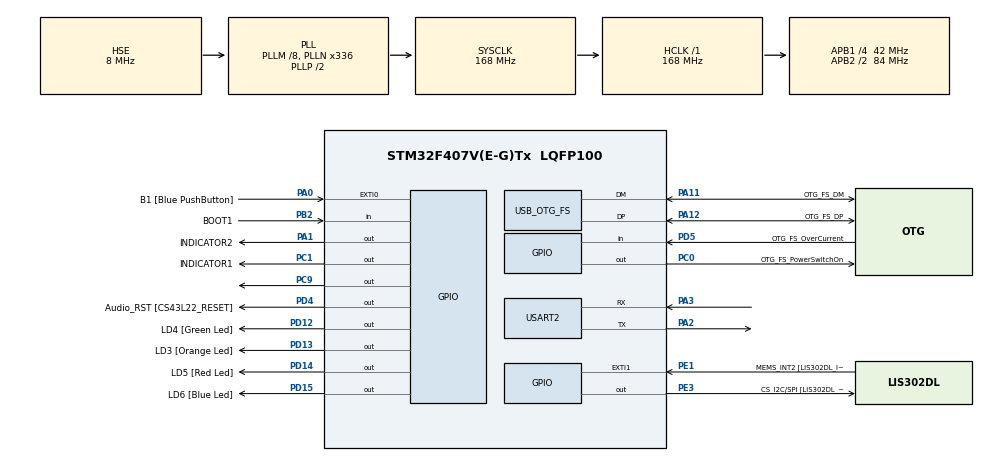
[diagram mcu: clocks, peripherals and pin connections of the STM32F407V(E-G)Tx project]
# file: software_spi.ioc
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Dma.Request0=USART2_RX
Dma.USART2_RX.0.Direction=DMA_PERIPH_TO_MEMORY
Dma.USART2_RX.0.FIFOMode=DMA_FIFOMODE_DISABLE
Dma.USART2_RX.0.Instance=DMA1_Stream5
Dma.USART2_RX.0.MemDataAlignment=DMA_MDATAALIGN_BYTE
Dma.USART2_RX.0.MemInc=DMA_MINC_ENABLE
Dma.USART2_RX.0.Mode=DMA_CIRCULAR
Dma.USART2_RX.0.PeriphDataAlignment=DMA_PDATAALIGN_BYTE
Dma.USART2_RX.0.PeriphInc=DMA_PINC_DISABLE
Dma.USART2_RX.0.Priority=DMA_PRIORITY_LOW
Mcu.Family=STM32F4
Mcu.Name=STM32F407V(E-G)Tx
Mcu.Package=LQFP100
NVIC.DMA1_Stream5_IRQn=true\:0\:0\:false\:false\:true\:false\:true\:true
NVIC.OTG_FS_IRQn=true\:0\:0\:false\:false\:true\:false\:true\:true
NVIC.PriorityGroup=NVIC_PRIORITYGROUP_0
NVIC.USART2_IRQn=true\:0\:0\:false\:false\:true\:true\:true\:true
PA0-WKUP.GPIO_Label=B1 [Blue PushButton]
PA0-WKUP.GPIO_ModeDefaultEXTI=GPIO_MODE_EVT_RISING
PA0-WKUP.GPIO_PuPd=GPIO_NOPULL
PA0-WKUP.Signal=GPXTI0
PA1.GPIO_Label=INDICATOR2
PA1.GPIO_PuPd=GPIO_PULLDOWN
PA1.GPIO_Speed=GPIO_SPEED_FREQ_VERY_HIGH
PA1.Signal=GPIO_Output
PA10.GPIO_Label=OTG_FS_ID
PA10.GPIO_Mode=GPIO_MODE_AF_PP
PA10.GPIO_PuPd=GPIO_NOPULL
PA10.GPIO_Speed=GPIO_SPEED_FREQ_LOW
PA10.Signal=USB_OTG_FS_ID
PA11.GPIO_Label=OTG_FS_DM
PA11.GPIO_Mode=GPIO_MODE_AF_PP
PA11.GPIO_PuPd=GPIO_NOPULL
PA11.GPIO_Speed=GPIO_SPEED_FREQ_LOW
PA11.Mode=Device_Only
PA11.Signal=USB_OTG_FS_DM
PA12.GPIO_Label=OTG_FS_DP
PA12.GPIO_Mode=GPIO_MODE_AF_PP
PA12.GPIO_PuPd=GPIO_NOPULL
PA12.GPIO_Speed=GPIO_SPEED_FREQ_LOW
PA12.Mode=Device_Only
PA12.Signal=USB_OTG_FS_DP
PA13.GPIO_Label=SWDIO
PA13.Mode=Serial_Wire
PA13.Signal=SYS_JTMS-SWDIO
PA14.GPIO_Label=SWCLK
PA14.Mode=Serial_Wire
PA14.Signal=SYS_JTCK-SWCLK
PA2.Mode=Asynchronous
PA2.Signal=USART2_TX
PA3.Mode=Asynchronous
PA3.Signal=USART2_RX
PA4.GPIO_Label=I2S3_WS [CS43L22_LRCK]
PA4.GPIO_Mode=GPIO_MODE_AF_PP
PA4.GPIO_PuPd=GPIO_NOPULL
PA4.GPIO_Speed=GPIO_SPEED_FREQ_LOW
PA4.Signal=I2S3_WS
PA5.GPIO_Label=SPI1_SCK [LIS302DL_SCL/SPC]
PA5.GPIO_Mode=GPIO_MODE_AF_PP
PA5.GPIO_PuPd=GPIO_NOPULL
PA5.GPIO_Speed=GPIO_SPEED_FREQ_LOW
PA5.Signal=SPI1_SCK
PA6.GPIO_Label=SPI1_MISO [LIS302DL_SDO]
PA6.GPIO_Mode=GPIO_MODE_AF_PP
PA6.GPIO_PuPd=GPIO_NOPULL
PA6.GPIO_Speed=GPIO_SPEED_FREQ_LOW
PA6.Signal=SPI1_MISO
PA7.GPIO_Label=SPI1_MOSI [LIS302DL_SDA/SDI/SDO]
PA7.GPIO_Mode=GPIO_MODE_AF_PP
PA7.GPIO_PuPd=GPIO_NOPULL
PA7.GPIO_Speed=GPIO_SPEED_FREQ_LOW
PA7.Signal=SPI1_MOSI
PA9.GPIO_Label=VBUS_FS
PA9.GPIO_Mode=GPIO_MODE_INPUT
PA9.GPIO_PuPd=GPIO_NOPULL
PA9.Signal=USB_OTG_FS_VBUS
PB10.GPIO_Label=CLK_IN [MP45DT02_CLK]
PB10.GPIO_Mode=GPIO_MODE_AF_PP
PB10.GPIO_PuPd=GPIO_NOPULL
PB10.GPIO_Speed=GPIO_SPEED_FREQ_LOW
PB10.Signal=I2S2_CK
PB2.GPIO_Label=BOOT1
PB2.GPIO_Mode=GPIO_MODE_INPUT
PB2.GPIO_PuPd=GPIO_NOPULL
PB2.Signal=GPIO_Input
PB3.GPIO_Label=SWO
PB3.Signal=SYS_JTDO-SWO
PB6.GPIO_Label=Audio_SCL [CS43L22_SCL]
PB6.GPIO_Mode=GPIO_MODE_AF_OD
PB6.GPIO_Pu=GPIO_PULLUP
PB6.GPIO_PuPd=GPIO_NOPULL
PB6.GPIO_Speed=GPIO_SPEED_FREQ_LOW
PB6.Signal=I2C1_SCL
PB9.GPIO_Label=Audio_SDA [CS43L22_SDA]
PB9.GPIO_Mode=GPIO_MODE_AF_OD
PB9.GPIO_Pu=GPIO_PULLUP
PB9.GPIO_PuPd=GPIO_NOPULL
PB9.GPIO_Speed=GPIO_SPEED_FREQ_LOW
PB9.Signal=I2C1_SDA
PC0.GPIO_Label=OTG_FS_PowerSwitchOn
PC0.GPIO_PuPd=GPIO_NOPULL
PC0.GPIO_Speed=GPIO_SPEED_FREQ_LOW
PC0.PinState=GPIO_PIN_SET
PC0.Signal=GPIO_Output
PC1.GPIO_Label=INDICATOR1
PC1.GPIO_PuPd=GPIO_PULLDOWN
PC1.GPIO_Speed=GPIO_SPEED_FREQ_HIGH
PC1.Signal=GPIO_Output
PC10.GPIO_Label=I2S3_SCK [CS43L22_SCLK]
PC10.GPIO_Mode=GPIO_MODE_AF_PP
PC10.GPIO_PuPd=GPIO_NOPULL
PC10.GPIO_Speed=GPIO_SPEED_FREQ_LOW
PC10.Signal=I2S3_CK
PC12.GPIO_Label=I2S3_SD [CS43L22_SDIN]
PC12.GPIO_Mode=GPIO_MODE_AF_PP
PC12.GPIO_PuPd=GPIO_NOPULL
PC12.GPIO_Speed=GPIO_SPEED_FREQ_LOW
PC12.Signal=I2S3_SD
PC14-OSC32_IN.GPIO_Label=PC14-OSC32_IN
PC14-OSC32_IN.Signal=RCC_OSC32_IN
PC15-OSC32_OUT.GPIO_Label=PC15-OSC32_OUT
PC15-OSC32_OUT.Signal=RCC_OSC32_OUT
PC3.GPIO_Label=PDM_OUT [MP45DT02_DOUT]
PC3.GPIO_Mode=GPIO_MODE_AF_PP
PC3.GPIO_PuPd=GPIO_NOPULL
PC3.GPIO_Speed=GPIO_SPEED_FREQ_LOW
PC3.Signal=I2S2_SD
PC7.GPIO_Label=I2S3_MCK [CS43L22_MCLK]
PC7.GPIO_Mode=GPIO_MODE_AF_PP
PC7.GPIO_PuPd=GPIO_NOPULL
PC7.GPIO_Speed=GPIO_SPEED_FREQ_LOW
PC7.Signal=I2S3_MCK
PC9.GPIO_Speed=GPIO_SPEED_FREQ_VERY_HIGH
PC9.Signal=GPIO_Output
PD12.GPIO_Label=LD4 [Green Led]
PD12.GPIO_PuPd=GPIO_NOPULL
PD12.GPIO_Speed=GPIO_SPEED_FREQ_LOW
PD12.Signal=GPIO_Output
PD13.GPIO_Label=LD3 [Orange Led]
PD13.GPIO_PuPd=GPIO_NOPULL
PD13.GPIO_Speed=GPIO_SPEED_FREQ_LOW
PD13.Signal=GPIO_Output
PD14.GPIO_Label=LD5 [Red Led]
PD14.GPIO_PuPd=GPIO_NOPULL
PD14.GPIO_Speed=GPIO_SPEED_FREQ_LOW
PD14.Signal=GPIO_Output
PD15.GPIO_Label=LD6 [Blue Led]
PD15.GPIO_PuPd=GPIO_NOPULL
PD15.GPIO_Speed=GPIO_SPEED_FREQ_LOW
PD15.Signal=GPIO_Output
PD4.GPIO_Label=Audio_RST [CS43L22_RESET]
PD4.GPIO_PuPd=GPIO_NOPULL
PD4.GPIO_Speed=GPIO_SPEED_FREQ_LOW
PD4.Signal=GPIO_Output
PD5.GPIO_Label=OTG_FS_OverCurrent
PD5.GPIO_Mode=GPIO_MODE_INPUT
PD5.GPIO_PuPd=GPIO_NOPULL
PD5.Signal=GPIO_Input
PE1.GPIO_Label=MEMS_INT2 [LIS302DL_INT2]
PE1.GPIO_ModeDefaultEXTI=GPIO_MODE_EVT_RISING
PE1.GPIO_PuPd=GPIO_NOPULL
PE1.Signal=GPXTI1
PE3.GPIO_Label=CS_I2C/SPI [LIS302DL_CS_I2C/SPI]
PE3.GPIO_PuPd=GPIO_NOPULL
PE3.GPIO_Speed=GPIO_SPEED_FREQ_LOW
PE3.Signal=GPIO_Output
PH0-OSC_IN.Mode=HSE-External-Oscillator
PH0-OSC_IN.Signal=RCC_OSC_IN
PH1-OSC_OUT.Mode=HSE-External-Oscillator
PH1-OSC_OUT.Signal=RCC_OSC_OUT
ProjectManager.HeapSize=0x200
ProjectManager.StackSize=0x400
ProjectManager.TargetToolchain=STM32CubeIDE
RCC.48MHZClocksFreq_Value=48000000
RCC.AHBFreq_Value=168000000
RCC.APB1CLKDivider=RCC_HCLK_DIV4
RCC.APB1Freq_Value=42000000
RCC.APB1TimFreq_Value=84000000
RCC.APB2CLKDivider=RCC_HCLK_DIV2
RCC.APB2Freq_Value=84000000
RCC.APB2TimFreq_Value=168000000
RCC.CortexFreq_Value=168000000
RCC.HCLKFreq_Value=168000000
RCC.HSE_VALUE=8000000
RCC.HSI_VALUE=16000000
RCC.LSE_VALUE=32768
RCC.PLLM=8
RCC.PLLN=336
RCC.PLLQ=7
RCC.SYSCLKFreq_VALUE=168000000
RCC.SYSCLKSource=RCC_SYSCLKSOURCE_PLLCLK
RCC.VCOOutputFreq_Value=336000000
TIM1.Period=10
TIM1.Prescaler=168-1
TIM2.Period=0xffffffff-1
TIM2.Prescaler=84-1
USART2.VirtualMode=VM_ASYNC
USB_DEVICE.CLASS_NAME_FS=CDC
USB_DEVICE.VirtualMode-CDC_FS=Cdc
USB_DEVICE.VirtualModeFS=Cdc_FS
USB_OTG_FS.VirtualMode=Device_Only
VP_TIM1_VS_ClockSourceINT.Mode=Internal
VP_TIM2_VS_ClockSourceINT.Mode=Internal
VP_USB_DEVICE_VS_USB_DEVICE_CDC_FS.Mode=CDC_FS
board=STM32F407G-DISC1

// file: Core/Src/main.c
/* USER CODE BEGIN Header */
/**
  ******************************************************************************
  * @file           : main.c
  * @brief          : Main program body
  ******************************************************************************
  * @attention
  *
  * Copyright (c) 2024 STMicroelectronics.
  * All rights reserved.
  *
  * This software is licensed under terms that can be found in the LICENSE file
  * in the root directory of this software component.
  * If no LICENSE file comes with this software, it is provided AS-IS.
  *
  ******************************************************************************
  */
/* USER CODE END Header */
#include "main.h"
#include "dma.h"
#include "tim.h"
#include "usart.h"
#include "usb_device.h"
#include "gpio.h"

/* USER CODE BEGIN Includes */
#include <stdio.h>
#include <stdbool.h>
#include <assert.h>

#include "../../soft_spi/soft_spi.h"
#include "../../test_spi/spi_test.h"
#include "../../uart_cmd/uart_app.h"
#include "../../uart_cmd/cmd.h"
/* USER CODE END Includes */

/* USER CODE BEGIN PD */
#define LOG_MSG_CDC		  	  0
#define LOG_MSG_ITM 		    1
#define MAIN_DBG_MSG_EN   	1

#if (MAIN_DBG_MSG_EN != 0)
#define PRINTF_MAIN(...)  printf(__VA_ARGS__)
#else
#define PRINTF_MAIN(...)  (void)0
#endif /* End of (MAIN_DBG_MSG_EN != 0) */

/* Override low-level _write system call */
#if(LOG_MSG_CDC == 1)
#include "usbd_cdc_if.h"
int _write(int file, char *ptr, int len){
    CDC_Transmit_FS((uint8_t*)ptr, len);
    return len;
}
#elif (LOG_MSG_ITM == 1)
int _write(int file, char *ptr, int len) {
    int DataIdx;
    for (DataIdx = 0; DataIdx < len; DataIdx++) {
        ITM_SendChar(*ptr++);
    }
    return len;
}
#else
#endif

/* USER CODE END PD */

/* USER CODE BEGIN PV */
uint16_t frame_recv_size;
uint8_t frame_received_buf[UART_RX_DMABUFFER_SIZE];
uint8_t frame_resp_buf[UART_RX_DMABUFFER_SIZE];
/* USER CODE END PV */

void SystemClock_Config(void);

/* USER CODE BEGIN 0 */

/* Delay us using TIM1 */
void delay_ns(uint32_t ns)
{
  // Calculate the number of ticks to wait based on the input delay in ns
  uint32_t tick_2wait = (ns * (TIM1_SRC_CLK / (TIM1_PRES * 1000000))) / 1000;
  if(tick_2wait < 1)
  {
      PRINTF_MAIN("Error: delay_ns too short\n");
      tick_2wait = 1;
  }
  __HAL_TIM_SET_COUNTER(&htim1, 0);
  while (__HAL_TIM_GET_COUNTER(&htim1) < tick_2wait);
}

void delay_us(uint32_t us)
{
    delay_ns(us * 1000);
}
uint32_t TIM2_GetTick_us(){
	return __HAL_TIM_GET_COUNTER(&htim2);
}
/**
 * @brief Reverse the bit pattern of a given input data
 * @param data_input: The input data to reverse
 * @param data_bit_width: actual data bit width of data_input since data_input not always 32-bit width
 * @return uint32_t: The reversed bit pattern of the input data
 */
uint32_t reverse_bit(uint32_t data_input, uint8_t data_bit_width)
{
    uint32_t data_output = 0;
    for (uint8_t i = 0; i < data_bit_width; i++)
    {
        data_output |= ((data_input >> i) & 0x1) << (data_bit_width - 1 - i);
    }
    return data_output;
}

    // Returns 0 for a 32-bit input with a bit width of 0
void test_reverse_bit_32bit_width_0() {
    // Arrange
    uint32_t input = 0xFFFFFFFF;
    uint8_t bit_width = 0;
    uint32_t expected_output = 0;

    // Act
    uint32_t result = reverse_bit(input, bit_width);

    // Assert
    assert(result == expected_output);
}

void leds_err_signal(void)
{
  HAL_GPIO_TogglePin(GPIOD, LD3_Pin| LD4_Pin | LD5_Pin | LD6_Pin);
  HAL_Delay(500);
}

/* USER CODE END 0 */

int main(void)
{

  /* MCU Configuration--------------------------------------------------------*/

  /* Reset of all peripherals, Initializes the Flash interface and the Systick. */
  HAL_Init();

  /* Configure the system clock */
  SystemClock_Config();

  /* Initialize all configured peripherals */
  MX_GPIO_Init();
  MX_DMA_Init();
  MX_TIM1_Init();
  MX_USART2_UART_Init();
  MX_USB_DEVICE_Init();
  MX_TIM2_Init();
  /* USER CODE BEGIN 2 */
#if (LOG_MSG_CDC != 0)
  MX_USB_DEVICE_Init();
  while(!CDC_IsPortOpen());
#endif /* End of (LOG_MSG_CDC != 0) */
  // SPI IO init
  spi_io_init();
  // SPI timer init
  if(spi_timer_init())
  {
	  PRINTF_MAIN("[ERR] Failed to init TIM1 \n");
  }

  HAL_TIM_Base_Start(&htim1);
	HAL_TIM_Base_Start(&htim2);

	PRINTF_MAIN("[INFO] TEST START!\n");

  /* USER CODE END 2 */

  /* Infinite loop */
  /* USER CODE BEGIN WHILE */

  // Test internal SPI
	// SPI_SRC_INTERNAL();

  SPI_SRC_EXTERNAL();

	if (uart_app_init()) {
    PRINTF_MAIN("[ERR] Failed to start UART\n");
  }

#if (SPI_MASTER_TEST != 0)

	spi_test_reg_t spi_read_reg = {
			.reg_addr_size = 10,
			.reg_val_size = 8,
			.reg_addr = 0x3,
			.reg_val = 0x1B
	};

	uint8_t slave_addr = SPI_QEC_RX1_SLAVE_ADDR;
	spi_write_slave(slave_addr, (spi_test_reg_t*) &spi_read_reg, 1);
	HAL_Delay(1);

	if (0 != spi_read_slave(slave_addr, (spi_test_reg_t*) &spi_read_reg, 1))
	{
		printf("\r\n [ERR] spi_test_slave failed to read slave \r\n");
	}
	printf(
			"Read from slave addr: %d, reg addr: 0x%X, val: 0x%X, reg addr width: %d, reg val width: %d\n",
			slave_addr, (unsigned int) spi_read_reg.reg_addr,
			(unsigned int) spi_read_reg.reg_val,
			spi_read_reg.reg_addr_size, spi_read_reg.reg_val_size);

	spi_read_reg = (spi_test_reg_t ) {
					.reg_addr_size = 10,
					.reg_val_size = 8,
					.reg_addr = 421,
					.reg_val = 0b00010000
			};
	spi_write_slave(slave_addr, (spi_test_reg_t*) &spi_read_reg, 1);
	HAL_Delay(1);

	slave_addr = SPI_FIR_ORX2_SLAVE_ADDR;
	if (0 != spi_read_slave(slave_addr, (spi_test_reg_t*) &spi_read_reg, 1))
	{
		printf("\r\n [ERR] spi_test_slave failed to read slave \r\n");
	}
	printf(
			"Read from slave addr: %d, reg addr: 0x%X, val: 0x%X, reg addr width: %d, reg val width: %d\n",
			slave_addr, (unsigned int) spi_read_reg.reg_addr,
			(unsigned int) spi_read_reg.reg_val,
			spi_read_reg.reg_addr_size, spi_read_reg.reg_val_size);

	spi_master_test();
#endif

#if (LINH_QEC_TEST != 0)
  printf("\n================== Starting QEC Test ======================\n");
  for(uint8_t retry=0; retry<5; retry++)
  {
      printf("Current iteration: %d\n", retry);
      printf("==================================================================\n");
      printf("Writing to SPI slaves...\n");
      uint8_t test_slaves[]= {SPI_QEC_RX1_SLAVE_ADDR, SPI_QEC_RX2_SLAVE_ADDR, SPI_QEC_ORX1_SLAVE_ADDR, SPI_QEC_ORX2_SLAVE_ADDR};
      for(uint8_t idx=0; idx<sizeof(test_slaves); idx++)
      {
      if (qec_test(test_slaves[idx]))
      {
        PRINTF_MAIN("[ERR] Failed to config SPI slave\n");
      }
      }
      printf("==================================================================\n");
      HAL_Delay(1000);
  }
  printf("==================================================================\n");
#endif /* End of (LINH_QEC_TEST != 0) */

#if (HUNG_ADC_TEST != 0)
  adc_test();
#endif /* End of (HUNG_ADC_TEST != 0) */

  while (1) {

#if (SANG_TEST == 1)
    // Use SPI master
		spi_master_cfg();
#endif

#if (SPI_SLAVE_TEST_EN == 1)
    while(1)
    {
      HAL_Delay(1000);
      spi_master_test();
    }
#endif /* End of (SPI_SLAVE_TEST_EN == 1) */

    /* -------------------------------- UART part ------------------------------- */
    if(uart_fifo_receive(frame_received_buf, &frame_recv_size) == 0)
    {
        PRINTF_MAIN("Data recv from UART FIFO: %.*s\n", frame_recv_size, frame_received_buf);
        uint16_t frame_resp_maxsize = sizeof(frame_resp_buf);
        if (0 == frame_processing(frame_received_buf, &frame_recv_size, frame_resp_buf, &frame_resp_maxsize))
        {
            if (0 != uart_app_send(frame_resp_buf, frame_resp_maxsize))
            {
                PRINTF_MAIN("[ERR] Failed to send response to UART\n");
            }
        }
    }
    /* USER CODE END WHILE */

    /* USER CODE BEGIN 3 */
	}
		PRINTF_MAIN("[INFO] TEST FINISH\n");
  /* USER CODE END 3 */
}

void SystemClock_Config(void)
{
  RCC_OscInitTypeDef RCC_OscInitStruct = {0};
  RCC_ClkInitTypeDef RCC_ClkInitStruct = {0};

  /** Configure the main internal regulator output voltage
  */
  __HAL_RCC_PWR_CLK_ENABLE();
  __HAL_PWR_VOLTAGESCALING_CONFIG(PWR_REGULATOR_VOLTAGE_SCALE1);

  /** Initializes the RCC Oscillators according to the specified parameters
  * in the RCC_OscInitTypeDef structure.
  */
  RCC_OscInitStruct.OscillatorType = RCC_OSCILLATORTYPE_HSE;
  RCC_OscInitStruct.HSEState = RCC_HSE_ON;
  RCC_OscInitStruct.PLL.PLLState = RCC_PLL_ON;
  RCC_OscInitStruct.PLL.PLLSource = RCC_PLLSOURCE_HSE;
  RCC_OscInitStruct.PLL.PLLM = 8;
  RCC_OscInitStruct.PLL.PLLN = 336;
  RCC_OscInitStruct.PLL.PLLP = RCC_PLLP_DIV2;
  RCC_OscInitStruct.PLL.PLLQ = 7;
  if (HAL_RCC_OscConfig(&RCC_OscInitStruct) != HAL_OK)
  {
    Error_Handler();
  }

  /** Initializes the CPU, AHB and APB buses clocks
  */
  RCC_ClkInitStruct.ClockType = RCC_CLOCKTYPE_HCLK|RCC_CLOCKTYPE_SYSCLK
                              |RCC_CLOCKTYPE_PCLK1|RCC_CLOCKTYPE_PCLK2;
  RCC_ClkInitStruct.SYSCLKSource = RCC_SYSCLKSOURCE_PLLCLK;
  RCC_ClkInitStruct.AHBCLKDivider = RCC_SYSCLK_DIV1;
  RCC_ClkInitStruct.APB1CLKDivider = RCC_HCLK_DIV4;
  RCC_ClkInitStruct.APB2CLKDivider = RCC_HCLK_DIV2;

  if (HAL_RCC_ClockConfig(&RCC_ClkInitStruct, FLASH_LATENCY_5) != HAL_OK)
  {
    Error_Handler();
  }
}

void Error_Handler(void)
{
  /* USER CODE BEGIN Error_Handler_Debug */
  /* User can add his own implementation to report the HAL error return state */
  __disable_irq();
  while (1)
  {
    leds_err_signal();
  }
  /* USER CODE END Error_Handler_Debug */
}

#ifdef  USE_FULL_ASSERT
/**
  * @brief  Reports the name of the source file and the source line number
  *         where the assert_param error has occurred.
  * @param  file: pointer to the source file name
  * @param  line: assert_param error line source number
  * @retval None
  */
void assert_failed(uint8_t *file, uint32_t line)
{
  /* USER CODE BEGIN 6 */
  volatile bool g_break = false;
  PRINTF_MAIN("Wrong parameters value: file %s on line %d\r\n", file, (int)line);
  while(!g_break)
  {
    leds_err_signal();
  }
  /* User can add his own implementation to report the file name and line number,
     ex: PRINTF_MAIN("Wrong parameters value: file %s on line %d\r\n", file, line) */
  /* USER CODE END 6 */
}
#endif /* USE_FULL_ASSERT */
